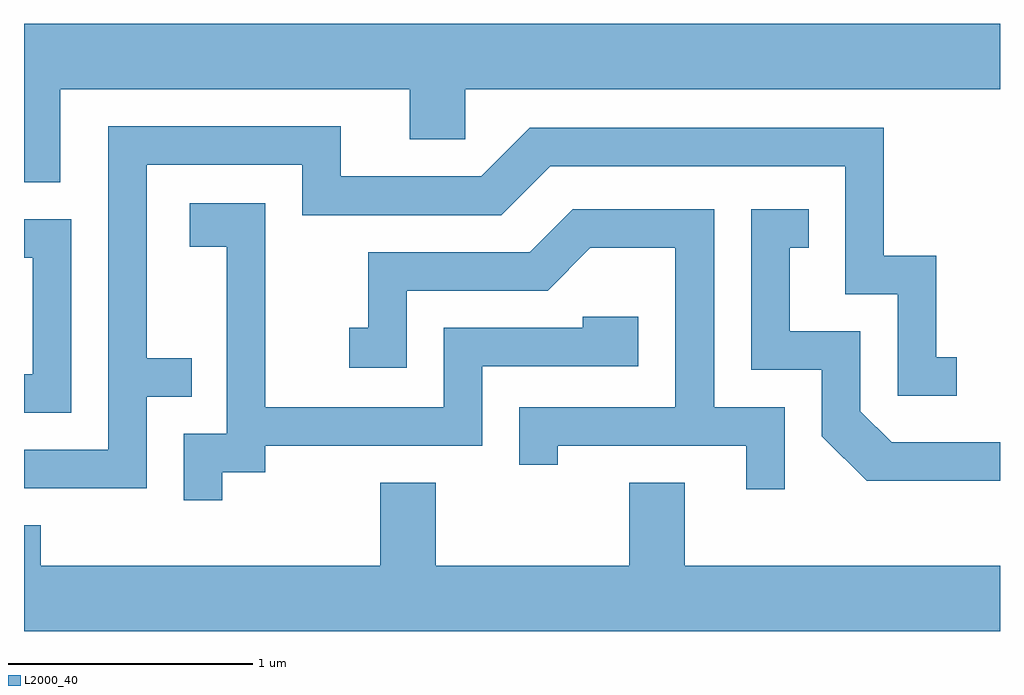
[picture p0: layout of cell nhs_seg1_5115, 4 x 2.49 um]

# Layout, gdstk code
import gdstk
lib = gdstk.Library(unit=1e-6, precision=1e-09)
def P(c, l, *ps):  # polygons
    for p in ps: c.add(gdstk.Polygon(p, *l))
L2000_40 = (2000, 40)

nhs_seg1_5115 = lib.new_cell('nhs_seg1_5115')
P(nhs_seg1_5115, L2000_40, [(339.759,864.056),(341.191,864.056),(341.191,863.851),(341.419,863.851),(341.419,864.056),(343.611,864.056),(343.611,864.324),(339.611,864.324),(339.611,863.676),(339.759,863.676)],
  [(340.114,862.796),(340.298,862.796),(340.298,862.954),(340.114,862.954),(340.114,863.746),(340.751,863.746),(340.751,863.541),(341.567,863.541),(341.767,863.741),(342.976,863.741),(342.976,863.216),(343.191,863.216),(343.191,862.801),(343.433,862.801),(343.433,862.959),(343.349,862.959),(343.349,863.374),(343.134,863.374),(343.134,863.899),(341.684,863.899),(341.484,863.699),(340.909,863.699),(340.909,863.904),(339.956,863.904),(339.956,862.579),(339.611,862.579),(339.611,862.421),(340.114,862.421)],
  [(340.424,862.486),(340.599,862.486),(340.599,862.596),(341.489,862.596),(341.489,862.921),(342.129,862.921),(342.129,863.124),(341.901,863.124),(341.901,863.079),(341.331,863.079),(341.331,862.754),(340.599,862.754),(340.599,863.589),(340.291,863.589),(340.291,863.411),(340.441,863.411),(340.441,862.644),(340.266,862.644),(340.266,862.373),(340.424,862.373)],
  [(343.611,862.609),(343.167,862.609),(343.039,862.737),(343.039,863.064),(342.749,863.064),(342.749,863.406),(342.828,863.406),(342.828,863.564),(342.591,863.564),(342.591,862.906),(342.881,862.906),(342.881,862.634),(343.064,862.451),(343.611,862.451)],
  [(342.729,862.754),(342.439,862.754),(342.439,863.564),(341.859,863.564),(341.684,863.389),(341.021,863.389),(341.021,863.079),(340.943,863.079),(340.943,862.916),(341.179,862.916),(341.179,863.231),(341.757,863.231),(341.932,863.406),(342.281,863.406),(342.281,862.754),(341.641,862.754),(341.641,862.518),(341.799,862.518),(341.799,862.596),(342.571,862.596),(342.571,862.418),(342.729,862.418)],
  [(339.804,863.524),(339.611,863.524),(339.611,863.366),(339.646,863.366),(339.646,862.889),(339.611,862.889),(339.611,862.731),(339.804,862.731)],
  [(343.611,862.104),(342.319,862.104),(342.319,862.444),(342.091,862.444),(342.091,862.104),(341.299,862.104),(341.299,862.444),(341.071,862.444),(341.071,862.104),(339.679,862.104),(339.679,862.269),(339.611,862.269),(339.611,861.836),(343.611,861.836)])

lib.write_gds('nhs_seg1_5115.gds')
